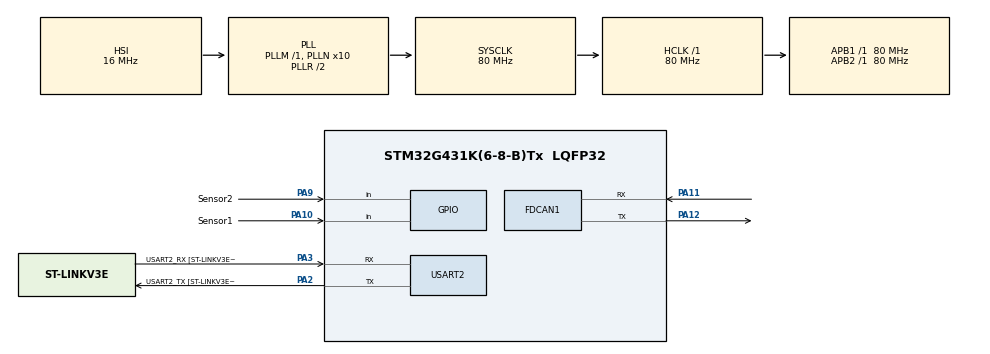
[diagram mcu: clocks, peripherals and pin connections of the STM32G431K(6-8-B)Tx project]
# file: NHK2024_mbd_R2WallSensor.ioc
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FDCAN1.CalculateBaudRateNominal=1000000
FDCAN1.CalculateTimeBitNominal=1000
FDCAN1.CalculateTimeQuantumNominal=50.0
FDCAN1.DataPrescaler=2
FDCAN1.DataSyncJumpWidth=1
FDCAN1.DataTimeSeg1=15
FDCAN1.DataTimeSeg2=4
FDCAN1.FrameFormat=FDCAN_FRAME_FD_BRS
FDCAN1.NominalPrescaler=4
FDCAN1.NominalSyncJumpWidth=1
FDCAN1.NominalTimeSeg1=15
FDCAN1.NominalTimeSeg2=4
FDCAN1.StdFiltersNbr=1
Mcu.Family=STM32G4
Mcu.Name=STM32G431K(6-8-B)Tx
Mcu.Package=LQFP32
NVIC.FDCAN1_IT0_IRQn=true\:0\:0\:false\:false\:true\:true\:true\:true
NVIC.FDCAN1_IT1_IRQn=true\:0\:0\:false\:false\:true\:true\:true\:true
NVIC.PriorityGroup=NVIC_PRIORITYGROUP_4
NVIC.TIM1_TRG_COM_TIM17_IRQn=true\:0\:0\:false\:false\:true\:true\:true\:true
PA10.GPIO_Label=Sensor1
PA10.GPIO_PuPd=GPIO_PULLUP
PA10.Signal=GPIO_Input
PA11.Mode=FDCAN_Activate
PA11.Signal=FDCAN1_RX
PA12.Mode=FDCAN_Activate
PA12.Signal=FDCAN1_TX
PA13.GPIO_Label=T_SWDIO
PA13.Mode=Serial_Wire
PA13.Signal=SYS_JTMS-SWDIO
PA14.GPIO_Label=T_SWCLK
PA14.Mode=Serial_Wire
PA14.Signal=SYS_JTCK-SWCLK
PA2.GPIO_Label=USART2_TX [ST-LINKV3E_VCP_RX]
PA2.Mode=Asynchronous
PA2.Signal=USART2_TX
PA3.GPIO_Label=USART2_RX [ST-LINKV3E_VCP_TX]
PA3.Mode=Asynchronous
PA3.Signal=USART2_RX
PA9.GPIO_Label=Sensor2
PA9.GPIO_PuPd=GPIO_PULLUP
PA9.Signal=GPIO_Input
ProjectManager.HeapSize=0x200
ProjectManager.StackSize=0x400
ProjectManager.TargetToolchain=STM32CubeIDE
RCC.ADC12Freq_Value=80000000
RCC.AHBFreq_Value=80000000
RCC.APB1Freq_Value=80000000
RCC.APB1TimFreq_Value=80000000
RCC.APB2Freq_Value=80000000
RCC.APB2TimFreq_Value=80000000
RCC.CortexFreq_Value=80000000
RCC.EXTERNAL_CLOCK_VALUE=12288000
RCC.HCLKFreq_Value=80000000
RCC.HSE_VALUE=8000000
RCC.HSI48_VALUE=48000000
RCC.HSI_VALUE=16000000
RCC.LSE_VALUE=32768
RCC.PLLN=10
RCC.SYSCLKFreq_VALUE=80000000
RCC.SYSCLKSource=RCC_SYSCLKSOURCE_PLLCLK
RCC.USBFreq_Value=80000000
RCC.VCOOutputFreq_Value=160000000
TIM17.PeriodNoDither=100
TIM17.Prescaler=7999
USART2.VirtualMode-Asynchronous=VM_ASYNC
USART2.WordLength=WORDLENGTH_8B
VP_TIM17_VS_ClockSourceINT.Mode=Enable_Timer
board=NUCLEO-G431KB

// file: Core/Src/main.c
/* USER CODE BEGIN Header */
/**
  ******************************************************************************
  * @file           : main.c
  * @brief          : Main program body
  ******************************************************************************
  * @attention
  *
  * Copyright (c) 2024 STMicroelectronics.
  * All rights reserved.
  *
  * This software is licensed under terms that can be found in the LICENSE file
  * in the root directory of this software component.
  * If no LICENSE file comes with this software, it is provided AS-IS.
  *
  ******************************************************************************
  */
/* USER CODE END Header */
#include "main.h"

/* USER CODE BEGIN Includes */
#include <stdio.h>
#include "R2CANIDList.h"

/* USER CODE END Includes */

FDCAN_HandleTypeDef hfdcan1;

TIM_HandleTypeDef htim17;

UART_HandleTypeDef huart2;

/* USER CODE BEGIN PV */
FDCAN_TxHeaderTypeDef TxHeader;

/* USER CODE END PV */

void SystemClock_Config(void);
static void MX_GPIO_Init(void);
static void MX_USART2_UART_Init(void);
static void MX_FDCAN1_Init(void);
static void MX_TIM17_Init(void);

/* USER CODE BEGIN 0 */

void  HAL_TIM_PeriodElapsedCallback(TIM_HandleTypeDef *htim){
	if(htim == &htim17){
		uint8_t TxData = 0;

		TxHeader.IdType = FDCAN_STANDARD_ID;
		TxHeader.TxFrameType = FDCAN_DATA_FRAME;
		TxHeader.DataLength = FDCAN_DLC_BYTES_1;
		TxHeader.ErrorStateIndicator = FDCAN_ESI_ACTIVE;
		TxHeader.BitRateSwitch = FDCAN_BRS_ON;
		TxHeader.FDFormat = FDCAN_FD_CAN;
		TxHeader.TxEventFifoControl = FDCAN_NO_TX_EVENTS;
		TxHeader.MessageMarker = 0;
		TxHeader.Identifier = CANID_WALL_DETECTION;

		TxData = HAL_GPIO_ReadPin(Sensor1_GPIO_Port, Sensor1_Pin) | (HAL_GPIO_ReadPin(Sensor2_GPIO_Port, Sensor2_Pin) << 1);

		printf("%x\r\n", TxData);

		if (HAL_FDCAN_AddMessageToTxFifoQ(&hfdcan1, &TxHeader, &TxData) != HAL_OK) {
			/* Transmission request Error */
			Error_Handler();
		}
	}
}

int _write(int file, char *ptr, int len)
{
    HAL_UART_Transmit(&huart2,(uint8_t *)ptr,len,10);
    return len;
}

/* USER CODE END 0 */

int main(void)
{

  /* MCU Configuration--------------------------------------------------------*/

  /* Reset of all peripherals, Initializes the Flash interface and the Systick. */
  HAL_Init();

  /* USER CODE BEGIN Init */
  setbuf(stdout, NULL);
  /* USER CODE END Init */

  /* Configure the system clock */
  SystemClock_Config();

  /* Initialize all configured peripherals */
  MX_GPIO_Init();
  MX_USART2_UART_Init();
  MX_FDCAN1_Init();
  MX_TIM17_Init();
  /* USER CODE BEGIN 2 */
  HAL_FDCAN_Start(&hfdcan1);
  HAL_TIM_Base_Start_IT(&htim17);
  printf("Initialized\r\n");

  /* USER CODE END 2 */

  /* Infinite loop */
  while (1)
  {

  }
}

void SystemClock_Config(void)
{
  RCC_OscInitTypeDef RCC_OscInitStruct = {0};
  RCC_ClkInitTypeDef RCC_ClkInitStruct = {0};

  /** Configure the main internal regulator output voltage
  */
  HAL_PWREx_ControlVoltageScaling(PWR_REGULATOR_VOLTAGE_SCALE1);

  /** Initializes the RCC Oscillators according to the specified parameters
  * in the RCC_OscInitTypeDef structure.
  */
  RCC_OscInitStruct.OscillatorType = RCC_OSCILLATORTYPE_HSI;
  RCC_OscInitStruct.HSIState = RCC_HSI_ON;
  RCC_OscInitStruct.HSICalibrationValue = RCC_HSICALIBRATION_DEFAULT;
  RCC_OscInitStruct.PLL.PLLState = RCC_PLL_ON;
  RCC_OscInitStruct.PLL.PLLSource = RCC_PLLSOURCE_HSI;
  RCC_OscInitStruct.PLL.PLLM = RCC_PLLM_DIV1;
  RCC_OscInitStruct.PLL.PLLN = 10;
  RCC_OscInitStruct.PLL.PLLP = RCC_PLLP_DIV2;
  RCC_OscInitStruct.PLL.PLLQ = RCC_PLLQ_DIV2;
  RCC_OscInitStruct.PLL.PLLR = RCC_PLLR_DIV2;
  if (HAL_RCC_OscConfig(&RCC_OscInitStruct) != HAL_OK)
  {
    Error_Handler();
  }

  /** Initializes the CPU, AHB and APB buses clocks
  */
  RCC_ClkInitStruct.ClockType = RCC_CLOCKTYPE_HCLK|RCC_CLOCKTYPE_SYSCLK
                              |RCC_CLOCKTYPE_PCLK1|RCC_CLOCKTYPE_PCLK2;
  RCC_ClkInitStruct.SYSCLKSource = RCC_SYSCLKSOURCE_PLLCLK;
  RCC_ClkInitStruct.AHBCLKDivider = RCC_SYSCLK_DIV1;
  RCC_ClkInitStruct.APB1CLKDivider = RCC_HCLK_DIV1;
  RCC_ClkInitStruct.APB2CLKDivider = RCC_HCLK_DIV1;

  if (HAL_RCC_ClockConfig(&RCC_ClkInitStruct, FLASH_LATENCY_2) != HAL_OK)
  {
    Error_Handler();
  }
}

static void MX_FDCAN1_Init(void)
{

  hfdcan1.Instance = FDCAN1;
  hfdcan1.Init.ClockDivider = FDCAN_CLOCK_DIV1;
  hfdcan1.Init.FrameFormat = FDCAN_FRAME_FD_BRS;
  hfdcan1.Init.Mode = FDCAN_MODE_NORMAL;
  hfdcan1.Init.AutoRetransmission = DISABLE;
  hfdcan1.Init.TransmitPause = DISABLE;
  hfdcan1.Init.ProtocolException = DISABLE;
  hfdcan1.Init.NominalPrescaler = 4;
  hfdcan1.Init.NominalSyncJumpWidth = 1;
  hfdcan1.Init.NominalTimeSeg1 = 15;
  hfdcan1.Init.NominalTimeSeg2 = 4;
  hfdcan1.Init.DataPrescaler = 2;
  hfdcan1.Init.DataSyncJumpWidth = 1;
  hfdcan1.Init.DataTimeSeg1 = 15;
  hfdcan1.Init.DataTimeSeg2 = 4;
  hfdcan1.Init.StdFiltersNbr = 1;
  hfdcan1.Init.ExtFiltersNbr = 0;
  hfdcan1.Init.TxFifoQueueMode = FDCAN_TX_FIFO_OPERATION;
  if (HAL_FDCAN_Init(&hfdcan1) != HAL_OK)
  {
    Error_Handler();
  }

}

static void MX_TIM17_Init(void)
{

  htim17.Instance = TIM17;
  htim17.Init.Prescaler = 7999;
  htim17.Init.CounterMode = TIM_COUNTERMODE_UP;
  htim17.Init.Period = 100;
  htim17.Init.ClockDivision = TIM_CLOCKDIVISION_DIV1;
  htim17.Init.RepetitionCounter = 0;
  htim17.Init.AutoReloadPreload = TIM_AUTORELOAD_PRELOAD_DISABLE;
  if (HAL_TIM_Base_Init(&htim17) != HAL_OK)
  {
    Error_Handler();
  }

}

static void MX_USART2_UART_Init(void)
{

  huart2.Instance = USART2;
  huart2.Init.BaudRate = 115200;
  huart2.Init.WordLength = UART_WORDLENGTH_8B;
  huart2.Init.StopBits = UART_STOPBITS_1;
  huart2.Init.Parity = UART_PARITY_NONE;
  huart2.Init.Mode = UART_MODE_TX_RX;
  huart2.Init.HwFlowCtl = UART_HWCONTROL_NONE;
  huart2.Init.OverSampling = UART_OVERSAMPLING_16;
  huart2.Init.OneBitSampling = UART_ONE_BIT_SAMPLE_DISABLE;
  huart2.Init.ClockPrescaler = UART_PRESCALER_DIV1;
  huart2.AdvancedInit.AdvFeatureInit = UART_ADVFEATURE_NO_INIT;
  if (HAL_UART_Init(&huart2) != HAL_OK)
  {
    Error_Handler();
  }
  if (HAL_UARTEx_SetTxFifoThreshold(&huart2, UART_TXFIFO_THRESHOLD_1_8) != HAL_OK)
  {
    Error_Handler();
  }
  if (HAL_UARTEx_SetRxFifoThreshold(&huart2, UART_RXFIFO_THRESHOLD_1_8) != HAL_OK)
  {
    Error_Handler();
  }
  if (HAL_UARTEx_DisableFifoMode(&huart2) != HAL_OK)
  {
    Error_Handler();
  }

}

static void MX_GPIO_Init(void)
{
  GPIO_InitTypeDef GPIO_InitStruct = {0};

  /* GPIO Ports Clock Enable */
  __HAL_RCC_GPIOA_CLK_ENABLE();

  /*Configure GPIO pins : Sensor2_Pin Sensor1_Pin */
  GPIO_InitStruct.Pin = Sensor2_Pin|Sensor1_Pin;
  GPIO_InitStruct.Mode = GPIO_MODE_INPUT;
  GPIO_InitStruct.Pull = GPIO_PULLUP;
  HAL_GPIO_Init(GPIOA, &GPIO_InitStruct);

}

void Error_Handler(void)
{
  __disable_irq();
  while (1)
  {
  }
}
